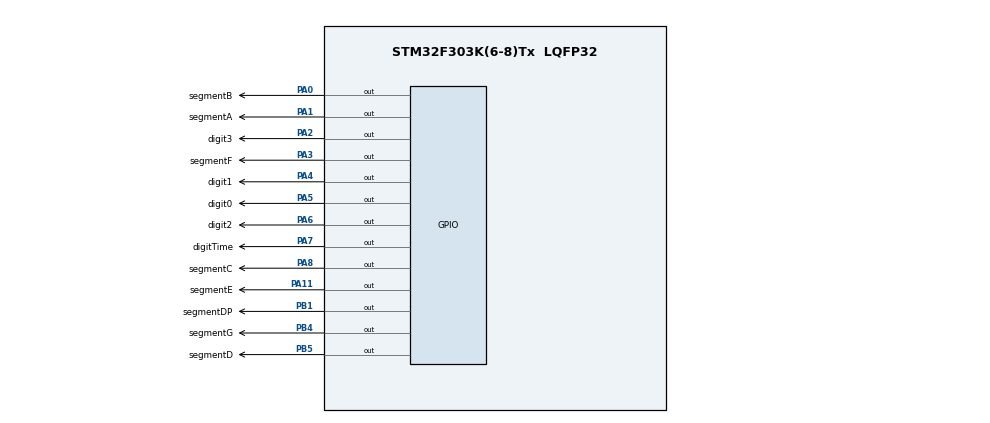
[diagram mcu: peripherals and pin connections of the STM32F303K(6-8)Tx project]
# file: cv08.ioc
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Mcu.Family=STM32F3
Mcu.Name=STM32F303K(6-8)Tx
Mcu.Package=LQFP32
NVIC.PriorityGroup=NVIC_PRIORITYGROUP_4
NVIC.TIM2_IRQn=true\:0\:0\:false\:false\:true\:true\:true
NVIC.TIM3_IRQn=true\:0\:0\:false\:false\:true\:true\:true
PA0.GPIO_Label=segmentB
PA0.GPIO_ModeDefaultOutputPP=GPIO_MODE_OUTPUT_PP
PA0.GPIO_PuPd=GPIO_NOPULL
PA0.GPIO_Speed=GPIO_SPEED_FREQ_LOW
PA0.PinState=GPIO_PIN_SET
PA0.Signal=GPIO_Output
PA1.GPIO_Label=segmentA
PA1.GPIO_ModeDefaultOutputPP=GPIO_MODE_OUTPUT_PP
PA1.GPIO_PuPd=GPIO_NOPULL
PA1.GPIO_Speed=GPIO_SPEED_FREQ_LOW
PA1.PinState=GPIO_PIN_SET
PA1.Signal=GPIO_Output
PA11.GPIO_Label=segmentE
PA11.GPIO_ModeDefaultOutputPP=GPIO_MODE_OUTPUT_PP
PA11.GPIO_PuPd=GPIO_NOPULL
PA11.GPIO_Speed=GPIO_SPEED_FREQ_LOW
PA11.PinState=GPIO_PIN_SET
PA11.Signal=GPIO_Output
PA2.GPIO_Label=digit3
PA2.GPIO_ModeDefaultOutputPP=GPIO_MODE_OUTPUT_PP
PA2.GPIO_PuPd=GPIO_NOPULL
PA2.GPIO_Speed=GPIO_SPEED_FREQ_LOW
PA2.PinState=GPIO_PIN_RESET
PA2.Signal=GPIO_Output
PA3.GPIO_Label=segmentF
PA3.GPIO_ModeDefaultOutputPP=GPIO_MODE_OUTPUT_PP
PA3.GPIO_PuPd=GPIO_NOPULL
PA3.GPIO_Speed=GPIO_SPEED_FREQ_LOW
PA3.PinState=GPIO_PIN_SET
PA3.Signal=GPIO_Output
PA4.GPIO_Label=digit1
PA4.GPIO_ModeDefaultOutputPP=GPIO_MODE_OUTPUT_PP
PA4.GPIO_PuPd=GPIO_NOPULL
PA4.GPIO_Speed=GPIO_SPEED_FREQ_LOW
PA4.PinState=GPIO_PIN_RESET
PA4.Signal=GPIO_Output
PA5.GPIO_Label=digit0
PA5.GPIO_ModeDefaultOutputPP=GPIO_MODE_OUTPUT_PP
PA5.GPIO_PuPd=GPIO_NOPULL
PA5.GPIO_Speed=GPIO_SPEED_FREQ_LOW
PA5.PinState=GPIO_PIN_RESET
PA5.Signal=GPIO_Output
PA6.GPIO_Label=digit2
PA6.GPIO_ModeDefaultOutputPP=GPIO_MODE_OUTPUT_PP
PA6.GPIO_PuPd=GPIO_NOPULL
PA6.GPIO_Speed=GPIO_SPEED_FREQ_LOW
PA6.PinState=GPIO_PIN_RESET
PA6.Signal=GPIO_Output
PA7.GPIO_Label=digitTime
PA7.GPIO_ModeDefaultOutputPP=GPIO_MODE_OUTPUT_PP
PA7.GPIO_PuPd=GPIO_NOPULL
PA7.GPIO_Speed=GPIO_SPEED_FREQ_LOW
PA7.PinState=GPIO_PIN_RESET
PA7.Signal=GPIO_Output
PA8.GPIO_Label=segmentC
PA8.GPIO_ModeDefaultOutputPP=GPIO_MODE_OUTPUT_PP
PA8.GPIO_PuPd=GPIO_NOPULL
PA8.GPIO_Speed=GPIO_SPEED_FREQ_LOW
PA8.PinState=GPIO_PIN_SET
PA8.Signal=GPIO_Output
PB1.GPIO_Label=segmentDP
PB1.GPIO_ModeDefaultOutputPP=GPIO_MODE_OUTPUT_PP
PB1.GPIO_PuPd=GPIO_NOPULL
PB1.GPIO_Speed=GPIO_SPEED_FREQ_LOW
PB1.PinState=GPIO_PIN_SET
PB1.Signal=GPIO_Output
PB4.GPIO_Label=segmentG
PB4.GPIO_ModeDefaultOutputPP=GPIO_MODE_OUTPUT_PP
PB4.GPIO_PuPd=GPIO_NOPULL
PB4.GPIO_Speed=GPIO_SPEED_FREQ_LOW
PB4.PinState=GPIO_PIN_SET
PB4.Signal=GPIO_Output
PB5.GPIO_Label=segmentD
PB5.GPIO_ModeDefaultOutputPP=GPIO_MODE_OUTPUT_PP
PB5.GPIO_PuPd=GPIO_NOPULL
PB5.GPIO_Speed=GPIO_SPEED_FREQ_LOW
PB5.PinState=GPIO_PIN_SET
PB5.Signal=GPIO_Output
ProjectManager.HeapSize=0x200
ProjectManager.StackSize=0x400
ProjectManager.TargetToolchain=STM32CubeIDE
RCC.AHBFreq_Value=8000000
RCC.APB1Freq_Value=8000000
RCC.APB2Freq_Value=8000000
RCC.CortexFreq_Value=8000000
RCC.HSE_VALUE=8000000
RCC.HSI_VALUE=8000000
RCC.SYSCLKFreq_VALUE=8000000
TIM2.Period=99
TIM2.Prescaler=199
TIM3.Period=499
TIM3.Prescaler=7999
VP_TIM2_VS_ClockSourceINT.Mode=Internal
VP_TIM3_VS_ClockSourceINT.Mode=Internal
board=custom

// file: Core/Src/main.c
/* USER CODE BEGIN Header */
/**
  ******************************************************************************
  * @file           : main.c
  * @brief          : Main program body
  ******************************************************************************
  * @attention
  *
  * Copyright (c) 2021 STMicroelectronics.
  * All rights reserved.
  *
  * This software is licensed under terms that can be found in the LICENSE file
  * in the root directory of this software component.
  * If no LICENSE file comes with this software, it is provided AS-IS.
  *
  ******************************************************************************
  */
/* USER CODE END Header */
#include "main.h"
#include "tim.h"
#include "gpio.h"

/* USER CODE BEGIN Includes */
#include "display.h"
#include "string.h"
#include "stm32f3xx_it.h"
/* USER CODE END Includes */

/* USER CODE BEGIN PV */
char text[]="SIMON_PAZIN_98358";
uint8_t direction=0;
uint8_t position=0;
uint8_t length;

char disp_text[4];
uint8_t digit=0;

/* USER CODE END PV */

void SystemClock_Config(void);
/* USER CODE BEGIN PFP */
void RollText();
void UpdateDisp();
/* USER CODE END PFP */

int main(void)
{
  /* USER CODE BEGIN 1 */
	length=strlen(text);
  /* USER CODE END 1 */

  /* MCU Configuration--------------------------------------------------------*/

  /* Reset of all peripherals, Initializes the Flash interface and the Systick. */

  LL_APB2_GRP1_EnableClock(LL_APB2_GRP1_PERIPH_SYSCFG);
  LL_APB1_GRP1_EnableClock(LL_APB1_GRP1_PERIPH_PWR);

  NVIC_SetPriorityGrouping(NVIC_PRIORITYGROUP_4);

  /* System interrupt init*/
  /* SysTick_IRQn interrupt configuration */
  NVIC_SetPriority(SysTick_IRQn, NVIC_EncodePriority(NVIC_GetPriorityGrouping(),15, 0));

  /* Configure the system clock */
  SystemClock_Config();

  /* Initialize all configured peripherals */
  MX_GPIO_Init();
  MX_TIM2_Init();
  MX_TIM3_Init();
  /* USER CODE BEGIN 2 */
  disableAllDigits();
  disableAllSegments();
  TIM2_RegisterUpdateCallback(UpdateDisp);
  TIM3_RegisterUpdateCallback(RollText);
  LL_TIM_EnableIT_UPDATE(TIM2);
  LL_TIM_EnableIT_UPDATE(TIM3);
  LL_TIM_EnableCounter(TIM2);
  LL_TIM_EnableCounter(TIM3);
  /* USER CODE END 2 */

  /* Infinite loop */
  while (1)
  {

  }
}

void SystemClock_Config(void)
{
  LL_FLASH_SetLatency(LL_FLASH_LATENCY_0);
  while(LL_FLASH_GetLatency()!= LL_FLASH_LATENCY_0)
  {
  }
  LL_RCC_HSI_Enable();

   /* Wait till HSI is ready */
  while(LL_RCC_HSI_IsReady() != 1)
  {

  }
  LL_RCC_HSI_SetCalibTrimming(16);
  LL_RCC_SetAHBPrescaler(LL_RCC_SYSCLK_DIV_1);
  LL_RCC_SetAPB1Prescaler(LL_RCC_APB1_DIV_1);
  LL_RCC_SetAPB2Prescaler(LL_RCC_APB2_DIV_1);
  LL_RCC_SetSysClkSource(LL_RCC_SYS_CLKSOURCE_HSI);

   /* Wait till System clock is ready */
  while(LL_RCC_GetSysClkSource() != LL_RCC_SYS_CLKSOURCE_STATUS_HSI)
  {

  }
  LL_Init1msTick(8000000);
  LL_SetSystemCoreClock(8000000);
}

/* USER CODE BEGIN 4 */
void RollText()
{
	memcpy(disp_text, text+position, 4);
	if (direction==0)
	{
		position++;
		if (position==(length-4))
		{
			direction=1;
		}
	}
	else
	{
		position--;
		if (position==0)
		{
			direction=0;
		}
	}
}

void UpdateDisp()
{
	disableAllDigits();
	LL_GPIO_SetOutputPin(digit_port[digit], digit_pin[digit]);
	displayAsciiCharacter(disp_text[digit]);
	digit++;
	if (digit>=4) digit=0;
}

/* USER CODE END 4 */

void Error_Handler(void)
{
  __disable_irq();
  while (1)
  {
  }
}
